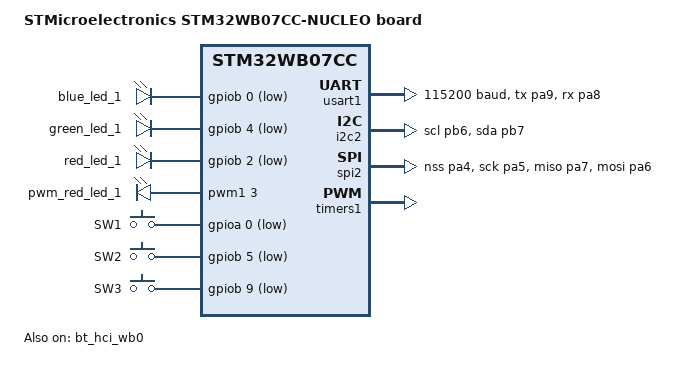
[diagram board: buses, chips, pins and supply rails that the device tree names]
/*
 * Copyright (c) 2025 STMicroelectronics
 *
 * SPDX-License-Identifier: Apache-2.0
 */

/dts-v1/;
#include <st/wb0/stm32wb07Xc.dtsi>
#include <st/wb0/stm32wb07ccvx-pinctrl.dtsi>
#include <zephyr/dt-bindings/input/input-event-codes.h>

#include "arduino_r3_connector.dtsi"

/ {
	model = "STMicroelectronics STM32WB07CC-NUCLEO board";
	compatible = "st,stm32wb07cc-nucleo";

	#address-cells = <1>;
	#size-cells = <1>;

	chosen {
		zephyr,console = &usart1;
		zephyr,shell-uart = &usart1;
		zephyr,sram = &sram0;
		zephyr,flash = &flash0;
		zephyr,bt-c2h-uart = &usart1;
	};

	leds: leds {
		compatible ="gpio-leds";
		blue_led_1: led_0 {
			gpios = <&gpiob 0 (GPIO_ACTIVE_LOW | GPIO_PULL_UP)>;
		};
		green_led_1: led_1 {
			gpios = <&gpiob 4 (GPIO_ACTIVE_LOW | GPIO_PULL_UP)>;
		};
		red_led_1: led_2 {
			gpios = <&gpiob 2 (GPIO_ACTIVE_LOW | GPIO_PULL_UP)>;
		};
	};

	pwmleds: pwmleds {
		compatible = "pwm-leds";
		pwm_red_led_1: pwm_red_led_1 {
			pwms = <&pwm1 3 PWM_MSEC(20) PWM_POLARITY_NORMAL>;
		};
	};

	gpio_keys {
		compatible = "gpio-keys";
		user_button_1: button_0 {
			label = "SW1";
			gpios = <&gpioa 0 (GPIO_ACTIVE_LOW | GPIO_PULL_UP)>;
			zephyr,code = <INPUT_KEY_0>;
		};
		user_button_2: button_1 {
			label = "SW2";
			gpios = <&gpiob 5 (GPIO_ACTIVE_LOW | GPIO_PULL_UP)>;
			zephyr,code = <INPUT_KEY_1>;
		};
		user_button_3: button_2 {
			label = "SW3";
			gpios = <&gpiob 9 (GPIO_ACTIVE_LOW | GPIO_PULL_UP)>;
			zephyr,code = <INPUT_KEY_2>;
		};
	};

	aliases {
		led0 = &blue_led_1;
		led1 = &green_led_1;
		led2 = &red_led_1;
		pwm-led0 = &pwm_red_led_1;
		sw0 = &user_button_1;
		sw1 = &user_button_2;
		sw2 = &user_button_3;
	};
};

&pwrc {
	smps-mode = "RUN";
	smps-bom = <3>;
};

&clk_lse {
	status = "okay";
};

&clk_hse {
	status = "okay";
};

&clk_hsi {
	status = "okay";
};

&pll {
	status = "okay";
};

&rcc {
	clocks = <&pll>;
	clock-frequency = <DT_FREQ_M(64)>;
	clksys-prescaler = <1>;
	slow-clock = <&clk_lse>;
};

&bt_hci_wb0 {
	status = "okay";
};

&usart1 {
	pinctrl-0 = <&usart1_tx_pa9 &usart1_rx_pa8>;
	pinctrl-names = "default";
	current-speed = <115200>;
	status = "okay";
};

&i2c2 {
	pinctrl-0 = <&i2c2_scl_pb6 &i2c2_sda_pb7>;
	pinctrl-names = "default";
	status = "okay";
};

&spi2 {
	pinctrl-0 = <&spi2_nss_pa4 &spi2_sck_pa5 &spi2_miso_pa7 &spi2_mosi_pa6>;
	pinctrl-names = "default";
	status = "okay";
	/* Select 32MHz clock for SPI2 */
	clocks = <&rcc STM32_CLOCK(APB1, 12)>,
		<&rcc STM32_SRC_SYSCLK SPI2_I2S2_SEL(1)>;
};

&timers1 {
	status = "okay";
	st,prescaler = <10000>;

	pwm1: pwm {
		status = "okay";
		pinctrl-0 = <&tim1_ch3_pb2>;
		pinctrl-names = "default";
	};
};

&flash0 {
	partitions {
		compatible = "fixed-partitions";
		#address-cells = <1>;
		#size-cells = <1>;
		/* Set aside 16KB of storage at the end of 256KB flash */
		storage_partition: partition@3c000 {
			label = "storage";
			reg = <0x0003c000 DT_SIZE_K(16)>;
		};
	};
};
